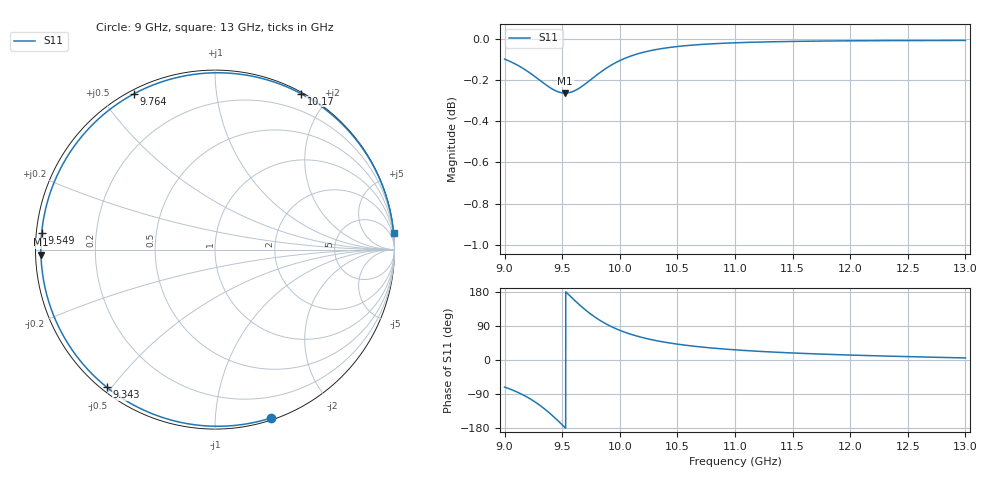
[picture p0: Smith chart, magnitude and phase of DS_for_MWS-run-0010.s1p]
! TOUCHSTONE file generated by CST DESIGN STUDIO
! Date and time: Tue Feb  4 12:39:14 2025
! Project name: C:\Work\MatlabApps\UnitCellOptimizationMatlab\CST\unitcell.cst
! Tree item: Tasks\Sweep1\SPara1\S-Parameters
! Header version: 2024
! Port assignment regex: !\s*Touchstone port\s*([0-9]+)\s*=\s*(CST MWS port|CST DES external port|CST DES block port)\s*(.+)\s* \(\"(.*)\"\)(\s*mode\s*([0-9]+))?.*
! Touchstone port assignment:
! Touchstone port 1 = CST DES external port 1 ("")
# GHz S MA R 50
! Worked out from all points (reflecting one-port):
!   4001 points, 9 GHz to 13 GHz, reference 50 ohm
!   lowest |S11| = -0.3 dB at 9.525 GHz (marker M1), VSWR 66.14, Z = 0.756 - j0.713 ohm
!   phase of S11 starts at -72 deg and turns -283 deg over the sweep
!   S11 on the Smith chart (normalised r, x): 9 GHz: 0.02, -1.39; 9.343 GHz: 0.02, -0.49; 9.549 GHz: 0.02, +0.05; 9.764 GHz: 0.01, +0.61; 10.17 GHz: 0.02, +1.69; 13 GHz: 0, +21
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9  0.9888 -71.5
9.096  0.986 -82.9
9.202  0.982 -99.0
9.276  0.9786 -113.1
9.343  0.9754 -128.1
9.386  0.9735 -138.9
9.43  0.9718 -150.8
9.5  0.9703 -171.0
9.525  0.9702 -178.4
9.549  0.9703 174.5
9.603  0.9713 158.7
9.663  0.9735 142.1
9.713  0.9758 129.3
9.764  0.9783 117.5
9.813  0.9807 107.4
9.867  0.9832 97.5
9.933  0.9858 87.2
10  0.988 78.3
10.083  0.9902 69.2
10.172  0.9921 61.2
10.321  0.9942 50.8
10.5  0.9958 41.8
10.721  0.997 33.9
11  0.9979 26.8
11.5  0.9987 18.5
12  0.999 13.0
12.5  0.9992 8.9
13  0.9992 5.5
